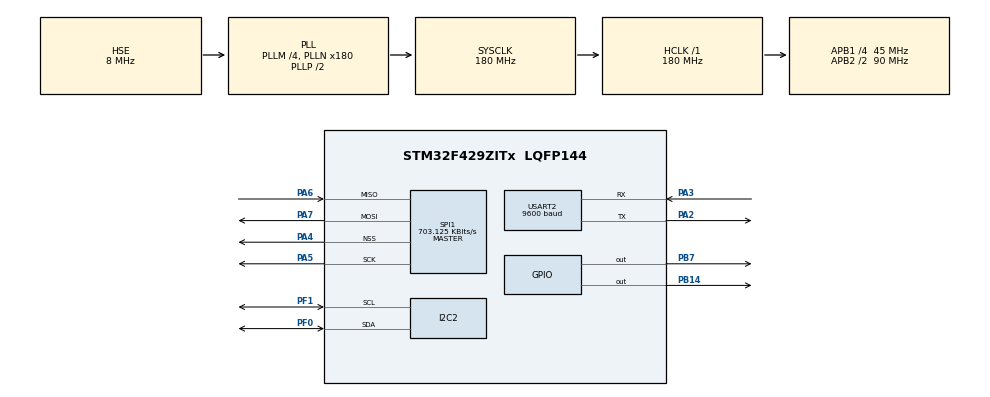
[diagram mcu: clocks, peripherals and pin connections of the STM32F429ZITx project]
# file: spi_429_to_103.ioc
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Mcu.Family=STM32F4
Mcu.Name=STM32F429ZITx
Mcu.Package=LQFP144
NVIC.PriorityGroup=NVIC_PRIORITYGROUP_4
PA13.Mode=Serial_Wire
PA13.Signal=SYS_JTMS-SWDIO
PA14.Mode=Serial_Wire
PA14.Signal=SYS_JTCK-SWCLK
PA2.Mode=Asynchronous
PA2.Signal=USART2_TX
PA3.Mode=Asynchronous
PA3.Signal=USART2_RX
PA4.Mode=NSS_Signal_Hard_Output
PA4.Signal=SPI1_NSS
PA5.Mode=Full_Duplex_Master
PA5.Signal=SPI1_SCK
PA6.Mode=Full_Duplex_Master
PA6.Signal=SPI1_MISO
PA7.Mode=Full_Duplex_Master
PA7.Signal=SPI1_MOSI
PB14.Signal=GPIO_Output
PB7.Signal=GPIO_Output
PF0.Mode=I2C
PF0.Signal=I2C2_SDA
PF1.Mode=I2C
PF1.Signal=I2C2_SCL
PH0/OSC_IN.Mode=HSE-External-Oscillator
PH0/OSC_IN.Signal=RCC_OSC_IN
PH1/OSC_OUT.Mode=HSE-External-Oscillator
PH1/OSC_OUT.Signal=RCC_OSC_OUT
ProjectManager.HeapSize=0x200
ProjectManager.StackSize=0x400
ProjectManager.TargetToolchain=STM32CubeIDE
RCC.48MHZClocksFreq_Value=90000000
RCC.AHBFreq_Value=180000000
RCC.APB1CLKDivider=RCC_HCLK_DIV4
RCC.APB1Freq_Value=45000000
RCC.APB1TimFreq_Value=90000000
RCC.APB2CLKDivider=RCC_HCLK_DIV2
RCC.APB2Freq_Value=90000000
RCC.APB2TimFreq_Value=180000000
RCC.CortexFreq_Value=180000000
RCC.HCLKFreq_Value=180000000
RCC.HSE_VALUE=8000000
RCC.HSI_VALUE=16000000
RCC.LSE_VALUE=32768
RCC.PLLM=4
RCC.PLLN=180
RCC.PLLSourceVirtual=RCC_PLLSOURCE_HSE
RCC.SYSCLKFreq_VALUE=180000000
RCC.SYSCLKSource=RCC_SYSCLKSOURCE_PLLCLK
RCC.VCOOutputFreq_Value=360000000
SPI1.BaudRatePrescaler=SPI_BAUDRATEPRESCALER_128
SPI1.CalculateBaudRate=703.125 KBits/s
SPI1.Direction=SPI_DIRECTION_2LINES
SPI1.Mode=SPI_MODE_MASTER
SPI1.VirtualNSS=VM_NSSHARD
SPI1.VirtualType=VM_MASTER
USART2.BaudRate=9600
USART2.VirtualMode=VM_ASYNC
board=custom

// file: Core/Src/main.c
/* USER CODE BEGIN Header */
/**
  ******************************************************************************
  * @file           : main.c
  * @brief          : Main program body
  ******************************************************************************
  * @attention
  *
  * Copyright (c) 2022 STMicroelectronics.
  * All rights reserved.
  *
  * This software is licensed under terms that can be found in the LICENSE file
  * in the root directory of this software component.
  * If no LICENSE file comes with this software, it is provided AS-IS.
  *
  ******************************************************************************
  */
/* USER CODE END Header */
#include "main.h"
#include "i2c.h"
#include "spi.h"
#include "usart.h"
#include "gpio.h"

/* USER CODE BEGIN Includes */

#include "pcf8574.h"
#include "uart_apc.h"

/* USER CODE END Includes */

extern UART_HandleTypeDef huart2;
/* USER CODE BEGIN PV */

#define R3 0X80
#define R2 0x40
#define R1 0X20
#define R0 0x10

#define C3 0X00
#define C2 0x00
#define C1 0X00
#define C0 0x00

#define ROWS 4
#define COLS 4

const char keymap2[4][4] = {
  {'E','F','G','H'},
  {'I','J','K','L'},
  {'M','N','O','P'},
  {'Q','R','S','T'}
};

uint8_t keyx;

/////////////////////////////////////////////////////////////////////////////////

	const char keymap[4][4] = {
							  {'1','2','3','A'},
		  	  	  	  	  	  {'4','5','6','B'},
							  {'7','8','9','C'},
							  {'*','0','#','D'}
	};

 const char columnMask[4]; //= { 2, 1, 3, 4 };	//column select values

 char keypad_val;
 char keypad_val2;

 uint8_t val;
 uint8_t final_key_val = 0;

 uint8_t val2;
 uint8_t final_key_val2 = 0;

 uint8_t key1_flag = 0;
 uint8_t key2_flag = 0;

 uint8_t key_scan_flag1 = 0;
 uint8_t key_scan_flag2 = 0;

 //////////////////////////////////////////////
 char j = 0;
 	char k = 0;
 	uint8_t temp;
 	uint8_t temp_2;
 	uint8_t final_col[1] = {0};
 	uint8_t final_col2[1] = {0};
 	uint8_t a = 0;
/////////////////////////////////////////////////

 	 uint8_t data;
 	uint8_t rdata[1] = {0};
 	 uint8_t rdata2[1] = {0};
 	 uint8_t receieve_data = 0;

 	 char keypad_char_value;

/* USER CODE END PV */

void SystemClock_Config(void);
/* USER CODE BEGIN PFP */

void master_write(void);
char keypad_i2c(void);
char scan(void);
void uart_key_print(char val);

/* USER CODE END PFP */

int main(void)
{

  /* MCU Configuration--------------------------------------------------------*/

  /* Reset of all peripherals, Initializes the Flash interface and the Systick. */
  HAL_Init();

  /* Configure the system clock */
  SystemClock_Config();

  /* Initialize all configured peripherals */
  MX_GPIO_Init();
  MX_SPI1_Init();
  MX_I2C2_Init();
  MX_USART2_UART_Init();
  /* USER CODE BEGIN 2 */

  uart3_pin_conf();

  /* USER CODE END 2 */

  /* Infinite loop */
  /* USER CODE BEGIN WHILE */
  while (1)
  {

	  master_write();
	  keypad_char_value = keypad_i2c();
	  uart_key_print(keypad_char_value);
//	  keypad_char_value = '0';

    /* USER CODE END WHILE */

  }
}

void SystemClock_Config(void)
{
  RCC_OscInitTypeDef RCC_OscInitStruct = {0};
  RCC_ClkInitTypeDef RCC_ClkInitStruct = {0};

  /** Configure the main internal regulator output voltage
  */
  __HAL_RCC_PWR_CLK_ENABLE();
  __HAL_PWR_VOLTAGESCALING_CONFIG(PWR_REGULATOR_VOLTAGE_SCALE1);

  /** Initializes the RCC Oscillators according to the specified parameters
  * in the RCC_OscInitTypeDef structure.
  */
  RCC_OscInitStruct.OscillatorType = RCC_OSCILLATORTYPE_HSE;
  RCC_OscInitStruct.HSEState = RCC_HSE_ON;
  RCC_OscInitStruct.PLL.PLLState = RCC_PLL_ON;
  RCC_OscInitStruct.PLL.PLLSource = RCC_PLLSOURCE_HSE;
  RCC_OscInitStruct.PLL.PLLM = 4;
  RCC_OscInitStruct.PLL.PLLN = 180;
  RCC_OscInitStruct.PLL.PLLP = RCC_PLLP_DIV2;
  RCC_OscInitStruct.PLL.PLLQ = 4;
  if (HAL_RCC_OscConfig(&RCC_OscInitStruct) != HAL_OK)
  {
    Error_Handler();
  }

  /** Activate the Over-Drive mode
  */
  if (HAL_PWREx_EnableOverDrive() != HAL_OK)
  {
    Error_Handler();
  }

  /** Initializes the CPU, AHB and APB buses clocks
  */
  RCC_ClkInitStruct.ClockType = RCC_CLOCKTYPE_HCLK|RCC_CLOCKTYPE_SYSCLK
                              |RCC_CLOCKTYPE_PCLK1|RCC_CLOCKTYPE_PCLK2;
  RCC_ClkInitStruct.SYSCLKSource = RCC_SYSCLKSOURCE_PLLCLK;
  RCC_ClkInitStruct.AHBCLKDivider = RCC_SYSCLK_DIV1;
  RCC_ClkInitStruct.APB1CLKDivider = RCC_HCLK_DIV4;
  RCC_ClkInitStruct.APB2CLKDivider = RCC_HCLK_DIV2;

  if (HAL_RCC_ClockConfig(&RCC_ClkInitStruct, FLASH_LATENCY_5) != HAL_OK)
  {
    Error_Handler();
  }
}

/* USER CODE BEGIN 4 */

void master_write(void)
{

	uint8_t i = 0;
	uint8_t tx_data[4] = {0xAA,0x13,0xFF,0xDD};
	uint8_t tx_data2[4] = {0xAA,0x91,0xA7,0xDD};
	uint8_t tx_data3[4] = {0xAA,0x13,0x86,0xDD};
//	uint8_t tx_data4[4] = {0xAA,0x13,0xF6,0xDD};
//	uint8_t tx_data5[4] = {0xAA,0x93,0xA2,0xDD};

	for (i = 0; i < 4; i++)
	{
		HAL_SPI_Transmit(&hspi1, &tx_data[i], sizeof(tx_data[i]), 1000);
	}

	HAL_Delay(30);

	for (i = 0; i < 4; i++)
		{
			HAL_SPI_Transmit(&hspi1, &tx_data2[i], sizeof(tx_data2[i]), 1000);
		}
	HAL_Delay(10);

	for (i = 0; i < 4; i++)
			{
				HAL_SPI_Transmit(&hspi1, &tx_data3[i], sizeof(tx_data3[i]), 1000);
			}
		HAL_Delay(30);

//		for (i = 0; i < 4; i++)
//				{
//					HAL_SPI_Transmit(&hspi1, &tx_data4[i], sizeof(tx_data4[i]), 1000);
//				}
//			HAL_Delay(50);
//
//
//			for (i = 0; i < 4; i++)
//					{
//						HAL_SPI_Transmit(&hspi1, &tx_data5[i], sizeof(tx_data5[i]), 1000);
//					}
//				HAL_Delay(50);

				HAL_GPIO_TogglePin(GPIOB, GPIO_PIN_14);
}

char keypad_i2c(void)
{

	///////////////////////////////  Transmit & Recieve I2C for 8pins 4x4 Matrix  /////////////////////////////////
		  if(HAL_I2C_IsDeviceReady(&hi2c2,64,1, 100) == HAL_OK)
		    {

			  HAL_GPIO_TogglePin(GPIOB, GPIO_PIN_7);

		    	  data = 0x0F;

		    		  j++;
		    		  if(j < 5)
		    		  {
						  data &= ~(0xF0 >> j);
						  temp = data;
						  temp &= 0x07;
						  if(j == 1)
						  {
							  temp = data + 7;
						  }
						  else if(j == 2)
						  {
							  temp = data + 4;
						  }
						  else if(j == 3)
						  {
							  temp = data + 10;
						  }
						  else if(j == 4)
						  {
							  temp = data + 13;
						  }

						  final_col[0] = temp + 240;

						  HAL_I2C_Master_Transmit(&hi2c2, 65, final_col, 1, 100);

						  HAL_I2C_Master_Receive(&hi2c2, 64, rdata, sizeof(rdata), 100);

						  key_scan_flag1 = 1;

		    		   }
		    		  else
		    		  {
		    			  j = 0;
		    		  }

		    	  keypad_val = scan();

//		    	  USART_write(keypad_val);
	//
		    	  HAL_Delay(1);
		    }
		  /////////////////////////////////////////////////////////////////////////////////////////////////////

		  return keypad_val;

}

char scan(void)
{

	val = rdata[0];

	key1_flag = 1;

	if(val < 247)
	{
		final_key_val = val;
	}

		  		switch(final_key_val)
		  		{
		  			case 119:	return keymap[0][0];	//first row pressed
		  			case 123:	return keymap[0][1];	//first row pressed
		  			case 125:	return keymap[0][2];	//first row pressed
		  			case 126:	return keymap[0][3];	//first row pressed

		  			case 183:	return keymap[1][0];	//first row pressed
		  			case 187:	return keymap[1][1];	//first row pressed
		  			case 189:	return keymap[1][2];	//first row pressed
		  			case 190:	return keymap[1][3];	//first row pressed

		  			case 215:	return keymap[2][0];	//third row pressed
		  			case 219:	return keymap[2][1];	//third row pressed
		  			case 221:	return keymap[2][2];	//third row pressed
		  			case 222:	return keymap[2][3];	//third row pressed

		  			case 231:	return keymap[3][0];	//third row pressed
		  			case 235:	return keymap[3][1];	//third row pressed
		  			case 237:	return keymap[3][2];	//third row pressed
		  			case 238:	return keymap[3][3];	//third row pressed

		  			default:	break;					//no pressed button found on this column
		  		}

	 return 0;	//no button pressed => blank 7 segment
}

void uart_key_print(char val)
{
	uint8_t char_to_unsign = 0;

	while(val == '0')
	{
		 char_to_unsign = (uint8_t)atoi(val);
//		 HAL_UART_Transmit(&huart2, (uint8_t*)char_to_unsign, sizeof(char_to_unsign),1000);
		 USART_write(val);
		 break;
	}
	while(val == '1')
		{
//			HAL_UART_Transmit(&huart2,val, sizeof(val),1000);
			 USART_write(val);
			 break;
		}
	while(val == '2')
		{
//			HAL_UART_Transmit(&huart2, (uint8_t*)val, sizeof(val),1000);
			 USART_write(val);
			 break;
		}
	while(val == '3')
		{
//			HAL_UART_Transmit(&huart2, (uint8_t*)val, sizeof(val),1000);
			 USART_write(val);
			 break;
		}
	while(val == '4')
		{
//			HAL_UART_Transmit(&huart2, (uint8_t*)val, sizeof(val),1000);
			 USART_write(val);
			 break;
		}
	while(val == '5')
		{
//			HAL_UART_Transmit(&huart2, (uint8_t*)val, sizeof(val),1000);
			 USART_write(val);
			 break;
		}
	while(val == '6')
		{
//			HAL_UART_Transmit(&huart2, (uint8_t*)val, sizeof(val),1000);
			 USART_write(val);
			 break;
		}
}

/* USER CODE END 4 */

void Error_Handler(void)
{
  __disable_irq();
  while (1)
  {
  }
}
